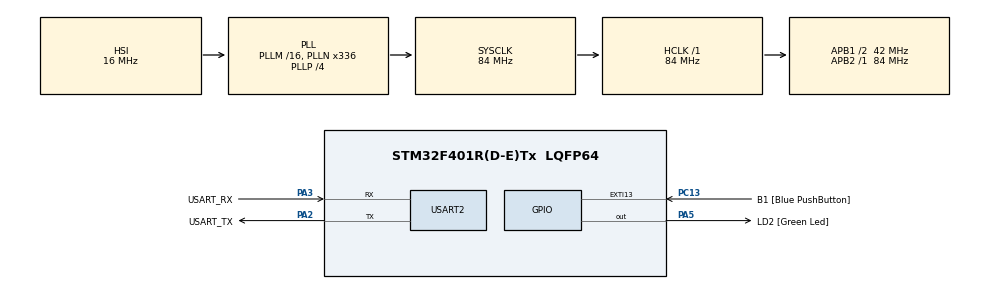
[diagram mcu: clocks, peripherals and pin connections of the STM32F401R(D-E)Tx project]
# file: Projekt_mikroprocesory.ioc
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Mcu.Family=STM32F4
Mcu.Name=STM32F401R(D-E)Tx
Mcu.Package=LQFP64
NVIC.PriorityGroup=NVIC_PRIORITYGROUP_0
NVIC.RCC_IRQn=true\:0\:0\:false\:false\:true\:true\:false\:true
NVIC.USART2_IRQn=true\:0\:0\:false\:false\:true\:true\:true\:true
PA13.GPIO_Label=TMS
PA13.Mode=Serial_Wire
PA13.Signal=SYS_JTMS-SWDIO
PA14.GPIO_Label=TCK
PA14.Mode=Serial_Wire
PA14.Signal=SYS_JTCK-SWCLK
PA2.GPIO_Label=USART_TX
PA2.GPIO_Mode=GPIO_MODE_AF_PP
PA2.GPIO_PuPd=GPIO_NOPULL
PA2.GPIO_Speed=GPIO_SPEED_FREQ_LOW
PA2.Mode=Asynchronous
PA2.Signal=USART2_TX
PA3.GPIO_Label=USART_RX
PA3.GPIO_Mode=GPIO_MODE_AF_PP
PA3.GPIO_PuPd=GPIO_NOPULL
PA3.GPIO_Speed=GPIO_SPEED_FREQ_LOW
PA3.Mode=Asynchronous
PA3.Signal=USART2_RX
PA5.GPIO_Label=LD2 [Green Led]
PA5.GPIO_Mode=GPIO_MODE_OUTPUT_PP
PA5.GPIO_PuPd=GPIO_NOPULL
PA5.GPIO_Speed=GPIO_SPEED_FREQ_LOW
PA5.Signal=GPIO_Output
PB3.GPIO_Label=SWO
PB3.Signal=SYS_JTDO-SWO
PC13-ANTI_TAMP.GPIO_Label=B1 [Blue PushButton]
PC13-ANTI_TAMP.GPIO_ModeDefaultEXTI=GPIO_MODE_IT_FALLING
PC13-ANTI_TAMP.GPIO_PuPd=GPIO_NOPULL
PC13-ANTI_TAMP.Signal=GPXTI13
PC14-OSC32_IN.Mode=LSE-External-Oscillator
PC14-OSC32_IN.Signal=RCC_OSC32_IN
PC15-OSC32_OUT.Mode=LSE-External-Oscillator
PC15-OSC32_OUT.Signal=RCC_OSC32_OUT
PH0\ -\ OSC_IN.Mode=HSE-External-Clock-Source
PH0\ -\ OSC_IN.Signal=RCC_OSC_IN
PH1\ -\ OSC_OUT.Mode=HSE-External-Clock-Source
PH1\ -\ OSC_OUT.Signal=RCC_OSC_OUT
ProjectManager.HeapSize=0x200
ProjectManager.StackSize=0x400
ProjectManager.TargetToolchain=STM32CubeIDE
RCC.48MHZClocksFreq_Value=48000000
RCC.AHBFreq_Value=84000000
RCC.APB1CLKDivider=RCC_HCLK_DIV2
RCC.APB1Freq_Value=42000000
RCC.APB1TimFreq_Value=84000000
RCC.APB2Freq_Value=84000000
RCC.APB2TimFreq_Value=84000000
RCC.CortexFreq_Value=84000000
RCC.HCLKFreq_Value=84000000
RCC.HSE_VALUE=8000000
RCC.HSI_VALUE=16000000
RCC.PLLN=336
RCC.PLLP=RCC_PLLP_DIV4
RCC.PLLQ=7
RCC.SYSCLKFreq_VALUE=84000000
RCC.SYSCLKSource=RCC_SYSCLKSOURCE_PLLCLK
RCC.VCOOutputFreq_Value=336000000
USART2.VirtualMode=VM_ASYNC
VP_CRC_VS_CRC.Mode=CRC_Activate
board=NUCLEO-F401RE

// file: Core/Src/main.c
/* USER CODE BEGIN Header */
/**
  ******************************************************************************
  * @file           : main.c
  * @brief          : Main program body
  ******************************************************************************
  * @attention
  *
  * Copyright (c) 2024 STMicroelectronics.
  * All rights reserved.
  *
  * This software is licensed under terms that can be found in the LICENSE file
  * in the root directory of this software component.
  * If no LICENSE file comes with this software, it is provided AS-IS.
  *
  ******************************************************************************
  */
/* USER CODE END Header */
#include "main.h"

/* USER CODE BEGIN Includes */
#include "stm32f4xx_hal.h"
#include <stdlib.h>
#include <string.h>
#include <stdio.h>
#include <stdarg.h>
#include <ctype.h>
/* USER CODE END Includes */

CRC_HandleTypeDef hcrc;

UART_HandleTypeDef huart2;

/* USER CODE BEGIN PV */
/* Private variables ---------------------------------------------------------*/

#define USART_TXBUF_LEN 3050
#define USART_RXBUF_LEN 305
uint8_t USART_TxBuf[USART_TXBUF_LEN];
uint8_t USART_RxBuf[USART_RXBUF_LEN];

__IO int USART_TX_Empty = 0;
__IO int USART_TX_Busy = 0;
__IO int USART_RX_Empty = 0;
__IO int USART_RX_Busy = 0;

/* USER CODE END PV */

void SystemClock_Config(void);
static void MX_GPIO_Init(void);
static void MX_USART2_UART_Init(void);
static void MX_CRC_Init(void);
/* USER CODE BEGIN PFP */
/* Private function prototypes -----------------------------------------------*/

void USART_fsend(char* format, ...) {
    char tmp_rs[128];
    int i;
    __IO int idx;
    va_list arglist;
    va_start(arglist, format);
    vsprintf(tmp_rs, format, arglist);
    va_end(arglist);
    idx = USART_TX_Empty;
    for (i = 0; i < strlen(tmp_rs); i++) {
        USART_TxBuf[idx] = tmp_rs[i];
        idx++;
        if (idx >= USART_TXBUF_LEN) idx = 0;
    }
    __disable_irq();
    if ((USART_TX_Empty == USART_TX_Busy) && (__HAL_UART_GET_FLAG(&huart2, UART_FLAG_TXE) == SET)) {
        USART_TX_Empty = idx;
        uint8_t tmp = USART_TxBuf[USART_TX_Busy];
        USART_TX_Busy++;
        if (USART_TX_Busy >= USART_TXBUF_LEN) USART_TX_Busy = 0;
        HAL_UART_Transmit_IT(&huart2, &tmp, 1);
    }
    else {
        USART_TX_Empty = idx;
    }
    __enable_irq();
}  // fsend

uint8_t USART_kbhit() {
    if (USART_RX_Empty == USART_RX_Busy) {
        return 0;
    }
    else {
        return 1;
    }
}  // USART_kbhit

int16_t USART_getchar() {
    int16_t tmp;
    if (USART_RX_Empty != USART_RX_Busy) {
        tmp = USART_RxBuf[USART_RX_Busy];
        USART_RX_Busy++;
        if (USART_RX_Busy >= USART_RXBUF_LEN) USART_RX_Busy = 0;
        return tmp;
    }
    else {
        return -1;
    }
}  // USART_getchar

void VIEWLAST(char* buf){
	if(strstr(buf, "005D") != NULL){
		USART_fsend(" ,STMHST0251 15.56 16:00 24.01.20245FFA;\r\n");
	}
	else{
			USART_fsend(" ,STMHST009CCHSUMINC961B;\r\n");
	}
} //VIEWLAST

void CHCDEV(char* buf){
	if(strstr(buf, "C209") != NULL){
		USART_fsend(" ,STMHST0261 AB CD EF 12 34 56 78 9A5E78;\r\n");
	}
	else{
			USART_fsend(" ,STMHST009CCHSUMINC961B;\r\n");
	}
} //CHCDEV

void SRCDEV(char* buf){
	if(strstr(buf, "9052") != NULL){
			USART_fsend(" ,STMHST0261 AB CD EF 12 34 56 78 9A5E78;\r\n");
		}
	else{
			USART_fsend(" ,STMHST009CCHSUMINC961B;\r\n");
	}
} //SRCDEV

void CHCINT(char* buf){
	if(strstr(buf, "9052") != NULL){
			USART_fsend(" ,STMHST0039994F02;\r\n");
		}
	else{
			USART_fsend(" ,STMHST009CCHSUMINC961B;\r\n");
	}
} //CHCINT

void VIEWR(char* buf){
	if(strstr(buf, "AAAA") != NULL){
			USART_fsend(" ,STMHST0251 15.56 16:00 24.01.2024\r\n2 15.56 16:01 24.01.2024\r\n3 15.56 16:02 24.01.2024\r\n\24B4;\r\n");
		}
	else{
			USART_fsend(" ,STMHST009CCHSUMINC961B;\r\n");
	}
}

void VIEW(char* buf){
	if(strstr(buf, "BBBB") != NULL){
			USART_fsend(" ,STMHST0251 15.56 16:00 24.01.20245FFA;\r\n");
		}
	else{
			USART_fsend(" ,STMHST009CCHSUMINC961B;\r\n");
	}
}

void CHGDEV(char* buf){
	if(strstr(buf, "CCCC") != NULL){
			USART_fsend(" ,STMHST007SUCCESS5352;\r\n");
		}
	else{
			USART_fsend(" ,STMHST009CCHSUMINC961B;\r\n");
	}
}

void CHGINT(char* buf){
	if(strstr(buf, "DDDD") != NULL){
			USART_fsend(" ,STMHST007SUCCESS5352;\r\n");
		}
	else{
			USART_fsend(" ,STMHST009CCHSUMINC961B;\r\n");
	}
}

uint8_t USART_validateFrameHST(char *buf, uint8_t length) {
	char receiver[4];
	memcpy(receiver, buf + 4, 3);
	receiver[3]='\0';
	char command_length[4];
	memcpy(command_length, buf + 7, 3);
	command_length[3] = '\0';
	uint16_t command_length_int = atoi(command_length);
	char command[291];
	uint16_t command_start = 10;
	uint16_t command_end = length-6;
	if(strncmp(receiver, "STM", 3) != 0){
	    	return 0;
	    }
	if(command_length_int == 0){
		USART_fsend(" ,STMHST007CMDLEN0E7BF;\r\n", 64);
		return 0;
	}
	else if(command_length_int == (command_end - command_start + 1)){
		memcpy(command, buf + command_start, command_length_int);
		command[291]='\0';
	}
	else{
		USART_fsend(" ,STMHST009CMDLENINCF295;\r\n", 64);
		return 0;
	}
	if(strncmp(command, "VIEWLAST", command_length_int) == 0){
		VIEWLAST(buf);
		return 1;
	}
	if(strncmp(command, "CHCDEV", command_length_int) == 0){
		CHCDEV(buf);
		return 1;
	}
	if(strncmp(command, "SRCDEV", command_length_int) == 0){
		SRCDEV(buf);
		return 1;
	}
	if(strncmp(command, "CHCINT", command_length_int) == 0){
		CHCINT(buf);
		return 1;
	}
	if(strstr(command, "VIEWR") != NULL){
		VIEWR(buf);
		return 1;
	}
	else{
		if(strstr(command, "VIEW") != NULL){
			VIEW(buf);
			return 1;
		}
	}
	if(strstr(command, "CHGDEV") != NULL){
		CHGDEV(buf);
		return 1;
	}
	if(strstr(command, "CHGINT") != NULL){
		CHGINT(buf);
		return 1;
	}
    else {
    	USART_fsend(" ,STMHST006CMDINC8A93;\r\n", 64);
        return 0;
    }
} //USART_validateframeHST

void HAL_UART_TxCpltCallback(UART_HandleTypeDef* huart) {
    if (huart == &huart2) {
        if (USART_TX_Empty != USART_TX_Busy) {
            uint8_t tmp = USART_TxBuf[USART_TX_Busy];
            USART_TX_Busy++;
            if (USART_TX_Busy >= USART_TXBUF_LEN) USART_TX_Busy = 0;
            HAL_UART_Transmit_IT(&huart2, &tmp, 1);
        }
    }
}

void HAL_UART_RxCpltCallback(UART_HandleTypeDef* huart) {
    if (huart == &huart2) {
        USART_RX_Empty++;
        if (USART_RX_Empty >= USART_RXBUF_LEN) USART_RX_Empty = 0;
        HAL_UART_Receive_IT(&huart2, &USART_RxBuf[USART_RX_Empty], 1);
    }
}

void USART2_Init(void) {
    huart2.Instance = USART2;
    huart2.Init.BaudRate = 115200;
    huart2.Init.WordLength = UART_WORDLENGTH_8B;
    huart2.Init.StopBits = UART_STOPBITS_1;
    huart2.Init.Parity = UART_PARITY_NONE;
    huart2.Init.Mode = UART_MODE_TX_RX;
    huart2.Init.HwFlowCtl = UART_HWCONTROL_NONE;
    huart2.Init.OverSampling = UART_OVERSAMPLING_16;
    if (HAL_UART_Init(&huart2) != HAL_OK) {
        Error_Handler();
    }
}
/* USER CODE END PFP */

int main(void)
{

  /* MCU Configuration--------------------------------------------------------*/

  /* Reset of all peripherals, Initializes the Flash interface and the Systick. */
  HAL_Init();

  /* Configure the system clock */
  SystemClock_Config();

  /* Initialize all configured peripherals */
  MX_GPIO_Init();
  MX_USART2_UART_Init();
  MX_CRC_Init();

  /* Infinite loop */
  /* USER CODE BEGIN WHILE */
    HAL_UART_Receive_IT(&huart2, &USART_RxBuf[0], 1);
    char buf[305]={0};
    static uint8_t idx = 0;
	uint8_t i;
	char znak = 0;
	static uint8_t flag = 0;
    while (1) {
    	    if (USART_kbhit()) {
    	        znak = USART_getchar();
    	        if (znak == ',') {
    	            for (i = 0; i <= idx; i++) {
    	                buf[i] = 0;
    	            }
    	        	flag=0;
    	            idx = 0;
    	            buf[idx]=znak;
    	            idx++;

    	        }
    	        else if(znak=='!' && flag==0 && buf[0]==','){
    	        	flag = 1;
    	        }
    	        else if(znak=='!' && flag==1 && buf[0]==','){
					buf[idx]='!';
					idx++;
					flag=0;
				}
				else if(znak=='1' && flag==1 && buf[0]==','){
					buf[idx]='\0';
					idx++;
					flag=0;
				}
				else if(znak=='2' && flag==1 && buf[0]==','){
					buf[idx]=',';
					idx++;
					flag=0;
				}
				else if(znak=='3' && flag==1 && buf[0]==','){
					buf[idx]=';';
					idx++;
					flag=0;
				}
				else if (flag==1 && buf[0]==',') {
					for (i = 0; i <= idx; i++) {
						buf[i] = 0;
					}
					flag=0;
					idx=0;
				}
				else if(znak==';' && buf[0]==',' && flag==0){
					buf[idx] = znak;
					flag = 0;
					USART_validateFrameHST(buf, idx+1);
				}
				else if (buf[0]==',' && flag==0){
					buf[idx] = znak;
					idx++;
				}
			}

				if (idx >= 305) {
					idx = 0;
					buf[idx] = 0;
				}
    	    }
    /* USER CODE END WHILE */

    }

void SystemClock_Config(void)
{
  RCC_OscInitTypeDef RCC_OscInitStruct = {0};
  RCC_ClkInitTypeDef RCC_ClkInitStruct = {0};

  /** Configure the main internal regulator output voltage
  */
  __HAL_RCC_PWR_CLK_ENABLE();
  __HAL_PWR_VOLTAGESCALING_CONFIG(PWR_REGULATOR_VOLTAGE_SCALE2);

  /** Initializes the RCC Oscillators according to the specified parameters
  * in the RCC_OscInitTypeDef structure.
  */
  RCC_OscInitStruct.OscillatorType = RCC_OSCILLATORTYPE_HSI;
  RCC_OscInitStruct.HSIState = RCC_HSI_ON;
  RCC_OscInitStruct.HSICalibrationValue = RCC_HSICALIBRATION_DEFAULT;
  RCC_OscInitStruct.PLL.PLLState = RCC_PLL_ON;
  RCC_OscInitStruct.PLL.PLLSource = RCC_PLLSOURCE_HSI;
  RCC_OscInitStruct.PLL.PLLM = 16;
  RCC_OscInitStruct.PLL.PLLN = 336;
  RCC_OscInitStruct.PLL.PLLP = RCC_PLLP_DIV4;
  RCC_OscInitStruct.PLL.PLLQ = 7;
  if (HAL_RCC_OscConfig(&RCC_OscInitStruct) != HAL_OK)
  {
    Error_Handler();
  }

  /** Initializes the CPU, AHB and APB buses clocks
  */
  RCC_ClkInitStruct.ClockType = RCC_CLOCKTYPE_HCLK|RCC_CLOCKTYPE_SYSCLK
                              |RCC_CLOCKTYPE_PCLK1|RCC_CLOCKTYPE_PCLK2;
  RCC_ClkInitStruct.SYSCLKSource = RCC_SYSCLKSOURCE_PLLCLK;
  RCC_ClkInitStruct.AHBCLKDivider = RCC_SYSCLK_DIV1;
  RCC_ClkInitStruct.APB1CLKDivider = RCC_HCLK_DIV2;
  RCC_ClkInitStruct.APB2CLKDivider = RCC_HCLK_DIV1;

  if (HAL_RCC_ClockConfig(&RCC_ClkInitStruct, FLASH_LATENCY_2) != HAL_OK)
  {
    Error_Handler();
  }
}

static void MX_CRC_Init(void)
{

  hcrc.Instance = CRC;
  if (HAL_CRC_Init(&hcrc) != HAL_OK)
  {
    Error_Handler();
  }

}

static void MX_USART2_UART_Init(void)
{

  huart2.Instance = USART2;
  huart2.Init.BaudRate = 115200;
  huart2.Init.WordLength = UART_WORDLENGTH_8B;
  huart2.Init.StopBits = UART_STOPBITS_1;
  huart2.Init.Parity = UART_PARITY_NONE;
  huart2.Init.Mode = UART_MODE_TX_RX;
  huart2.Init.HwFlowCtl = UART_HWCONTROL_NONE;
  huart2.Init.OverSampling = UART_OVERSAMPLING_16;
  if (HAL_UART_Init(&huart2) != HAL_OK)
  {
    Error_Handler();
  }

}

static void MX_GPIO_Init(void)
{
  GPIO_InitTypeDef GPIO_InitStruct = {0};

  /* GPIO Ports Clock Enable */
  __HAL_RCC_GPIOC_CLK_ENABLE();
  __HAL_RCC_GPIOH_CLK_ENABLE();
  __HAL_RCC_GPIOA_CLK_ENABLE();
  __HAL_RCC_GPIOB_CLK_ENABLE();

  /*Configure GPIO pin Output Level */
  HAL_GPIO_WritePin(LD2_GPIO_Port, LD2_Pin, GPIO_PIN_RESET);

  /*Configure GPIO pin : B1_Pin */
  GPIO_InitStruct.Pin = B1_Pin;
  GPIO_InitStruct.Mode = GPIO_MODE_IT_FALLING;
  GPIO_InitStruct.Pull = GPIO_NOPULL;
  HAL_GPIO_Init(B1_GPIO_Port, &GPIO_InitStruct);

  /*Configure GPIO pin : LD2_Pin */
  GPIO_InitStruct.Pin = LD2_Pin;
  GPIO_InitStruct.Mode = GPIO_MODE_OUTPUT_PP;
  GPIO_InitStruct.Pull = GPIO_NOPULL;
  GPIO_InitStruct.Speed = GPIO_SPEED_FREQ_LOW;
  HAL_GPIO_Init(LD2_GPIO_Port, &GPIO_InitStruct);

}

void Error_Handler(void)
{
    while (1) {
    }
}
